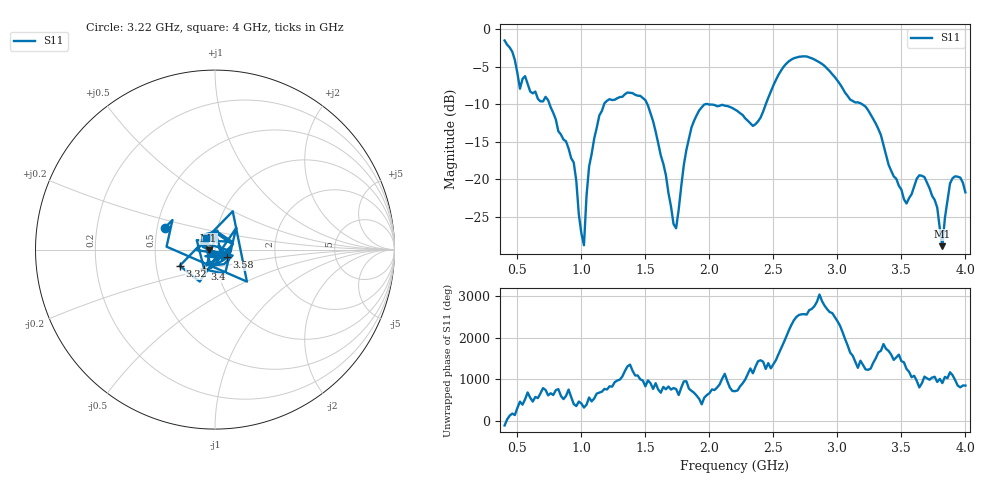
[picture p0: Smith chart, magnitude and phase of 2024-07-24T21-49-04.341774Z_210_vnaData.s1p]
!Created with skrf (http://scikit-rf.org).
# Hz S RI R 50.0
!freq ReS11 ImS11
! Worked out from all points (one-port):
!   181 points, 400 MHz to 4 GHz, reference 50 ohm
!   lowest |S11| = -28.9 dB at 3.82 GHz (marker M1), VSWR 1.07, Z = 46.5 - j0.396 ohm
!   |S11| at or under -10 dB: 1.515 GHz to 1.966 GHz (450.9 MHz wide, 25.9 % of centre); 1.991 GHz to 2.44 GHz (448.9 MHz wide, 20.3 % of centre); 3.194 GHz to end of sweep (the widest 3 of 4)
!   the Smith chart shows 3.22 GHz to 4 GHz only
!   S11 on the Smith chart (normalised r, x): 3.22 GHz: 0.55, +0.15; 3.32 GHz: 0.66, -0.13; 3.4 GHz: 0.87, -0.19; 3.58 GHz: 1.14, -0.10; 4 GHz: 0.90, +0.12
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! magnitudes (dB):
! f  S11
! 400 MHz  -1.5
! 520 MHz  -7.9
! 720 MHz  -9.0
! 860 MHz  -14.7
! 940 MHz  -17.7
! 1.02 GHz  -28.7
! 1.06 GHz  -18.3
! 1.14 GHz  -11.5
! 1.3 GHz  -9.0
! 1.5 GHz  -9.5
! 1.72 GHz  -25.9
! 1.76 GHz  -24.0
! 1.82 GHz  -16.1
! 1.92 GHz  -10.8
! 2.2 GHz  -10.7
! 2.36 GHz  -12.6
! 2.66 GHz  -3.9
! 3.1 GHz  -9.4
! 3.22 GHz  -10.3
! 3.32 GHz  -13.3
! 3.4 GHz  -18.0
! 3.56 GHz  -22.5
! 3.58 GHz  -21.9
! 3.68 GHz  -19.7
! 3.78 GHz  -23.7
! 3.82 GHz  -28.9
! 3.88 GHz  -20.5
! 4 GHz  -21.7
